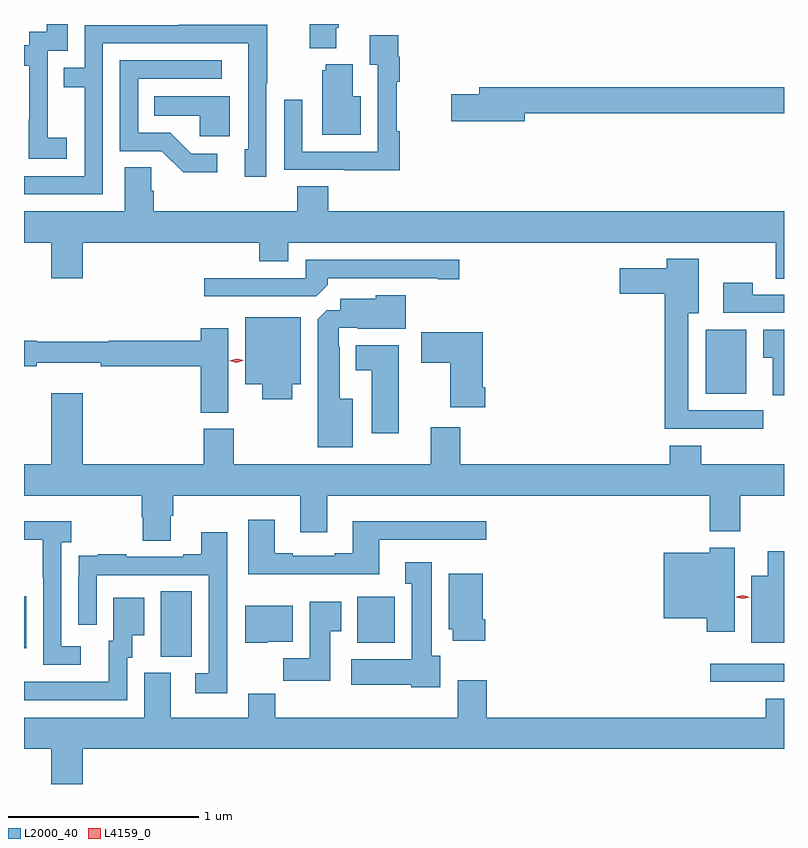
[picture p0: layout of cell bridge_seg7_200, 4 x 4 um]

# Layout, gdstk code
import gdstk
lib = gdstk.Library(unit=1e-6, precision=1e-09)
def R(c, l, rs):  # rectangles x0, y0, x1, y1
    for r in rs: c.add(gdstk.rectangle(r[:2], r[2:], *l))
def P(c, l, *ps):  # polygons
    for p in ps: c.add(gdstk.Polygon(p, *l))
L2000_40 = (2000, 40)
L4159_0 = (4159, 0)

bridge_seg7_200 = lib.new_cell('bridge_seg7_200')
R(bridge_seg7_200, L2000_40, [(120.525,1024.944,120.912,1025.04), (117.632,1025.077,117.796,1025.42), (116.912,1025.121,116.923,1025.395), (118.667,1025.15,118.864,1025.392), (120.5,1026.461,120.712,1026.796)])
P(bridge_seg7_200, L2000_40, [(118.555,1028.386),(118.568,1028.386),(118.568,1028.406),(118.415,1028.406),(118.415,1028.279),(118.555,1028.279)],
  [(117.136,1027.807),(117.038,1027.807),(117.038,1028.036),(117.036,1028.036),(117.036,1028.265),(117.141,1028.265),(117.141,1028.406),(117.033,1028.406),(117.033,1028.364),(116.94,1028.364),(116.94,1028.295),(116.912,1028.295),(116.912,1028.187),(116.939,1028.187),(116.939,1027.903),(116.938,1027.903),(116.938,1027.697),(117.136,1027.697)],
  [(117.327,1028.304),(118.091,1028.304),(118.091,1028.05),(118.092,1028.05),(118.092,1027.746),(118.073,1027.746),(118.073,1027.602),(118.188,1027.602),(118.188,1028.095),(118.191,1028.095),(118.191,1028.402),(117.727,1028.402),(117.727,1028.4),(117.231,1028.4),(117.231,1028.175),(117.121,1028.175),(117.121,1028.074),(117.231,1028.074),(117.231,1027.605),(116.912,1027.605),(116.912,1027.509),(117.327,1027.509)],
  [(118.889,1027.841),(118.874,1027.841),(118.874,1028.102),(118.889,1028.102),(118.889,1028.234),(118.882,1028.234),(118.882,1028.347),(118.733,1028.347),(118.733,1028.191),(118.773,1028.191),(118.773,1027.734),(118.377,1027.734),(118.377,1028.007),(118.281,1028.007),(118.281,1027.638),(118.597,1027.638),(118.597,1027.637),(118.889,1027.637)],
  [(117.928,1027.722),(117.793,1027.722),(117.682,1027.833),(117.513,1027.833),(117.513,1028.118),(117.952,1028.118),(117.952,1028.214),(117.417,1028.214),(117.417,1027.737),(117.636,1027.737),(117.749,1027.625),(117.928,1027.625)],
  [(118.684,1028.026),(118.642,1028.026),(118.642,1028.194),(118.499,1028.194),(118.499,1028.163),(118.481,1028.163),(118.481,1027.823),(118.684,1027.823)],
  [(119.548,1027.936),(120.912,1027.936),(120.912,1028.072),(119.309,1028.072),(119.309,1028.036),(119.16,1028.036),(119.16,1027.894),(119.548,1027.894)],
  [(117.994,1028.026),(117.598,1028.026),(117.598,1027.922),(117.837,1027.922),(117.837,1027.814),(117.994,1027.814)],
  [(120.912,1027.42),(118.514,1027.42),(118.514,1027.553),(118.349,1027.553),(118.349,1027.42),(117.596,1027.42),(117.596,1027.529),(117.582,1027.529),(117.582,1027.652),(117.443,1027.652),(117.443,1027.42),(116.912,1027.42),(116.912,1027.256),(117.056,1027.256),(117.056,1027.068),(117.22,1027.068),(117.22,1027.256),(118.151,1027.256),(118.151,1027.157),(118.303,1027.157),(118.303,1027.256),(120.868,1027.256),(120.868,1027.066),(120.912,1027.066)],
  [(120.802,1026.372),(120.409,1026.372),(120.409,1026.884),(120.463,1026.884),(120.463,1027.171),(120.296,1027.171),(120.296,1027.12),(120.048,1027.12),(120.048,1026.986),(120.284,1026.986),(120.284,1026.275),(120.802,1026.275)],
  [(118.511,1027.034),(118.511,1027.068),(119.09,1027.068),(119.09,1027.063),(119.203,1027.063),(119.203,1027.164),(118.395,1027.164),(118.395,1027.068),(117.861,1027.068),(117.861,1026.972),(118.449,1026.972)],
  [(120.912,1026.981),(120.747,1026.981),(120.747,1027.045),(120.591,1027.045),(120.591,1026.885),(120.912,1026.885)],
  [(118.642,1026.433),(118.573,1026.433),(118.573,1026.707),(118.569,1026.707),(118.569,1026.807),(118.669,1026.807),(118.669,1026.803),(118.921,1026.803),(118.921,1026.979),(118.764,1026.979),(118.764,1026.961),(118.577,1026.961),(118.577,1026.9),(118.506,1026.9),(118.457,1026.851),(118.457,1026.179),(118.642,1026.179)],
  [(118.324,1026.509),(118.369,1026.509),(118.369,1026.862),(118.076,1026.862),(118.076,1026.509),(118.166,1026.509),(118.166,1026.431),(118.324,1026.431)],
  [(117.988,1026.805),(117.842,1026.805),(117.842,1026.74),(117.358,1026.74),(117.358,1026.733),(116.98,1026.733),(116.98,1026.74),(116.912,1026.74),(116.912,1026.604),(116.98,1026.604),(116.98,1026.623),(117.316,1026.623),(117.316,1026.604),(117.842,1026.604),(117.842,1026.361),(117.988,1026.361)],
  [(120.912,1026.796),(120.803,1026.796),(120.803,1026.65),(120.854,1026.65),(120.854,1026.452),(120.912,1026.452)],
  [(119.339,1026.493),(119.326,1026.493),(119.326,1026.784),(119.004,1026.784),(119.004,1026.622),(119.156,1026.622),(119.156,1026.389),(119.339,1026.389)],
  [(118.885,1026.715),(118.658,1026.715),(118.658,1026.584),(118.742,1026.584),(118.742,1026.252),(118.885,1026.252)],
  [(117.685,1025.818),(117.698,1025.818),(117.698,1025.924),(118.367,1025.924),(118.367,1025.73),(118.507,1025.73),(118.507,1025.924),(120.521,1025.924),(120.521,1025.735),(120.681,1025.735),(120.681,1025.924),(120.912,1025.924),(120.912,1026.088),(120.476,1026.088),(120.476,1026.187),(120.311,1026.187),(120.311,1026.088),(119.207,1026.088),(119.207,1026.283),(119.054,1026.283),(119.054,1026.088),(118.017,1026.088),(118.017,1026.276),(117.857,1026.276),(117.857,1026.088),(117.22,1026.088),(117.22,1026.463),(117.056,1026.463),(117.056,1026.088),(116.912,1026.088),(116.912,1025.924),(117.533,1025.924),(117.533,1025.811),(117.538,1025.811),(117.538,1025.686),(117.685,1025.686)],
  [(118.783,1025.691),(119.344,1025.691),(119.344,1025.788),(118.643,1025.788),(118.643,1025.62),(118.547,1025.62),(118.547,1025.607),(118.327,1025.607),(118.327,1025.62),(118.231,1025.62),(118.231,1025.797),(118.091,1025.797),(118.091,1025.51),(118.783,1025.51)],
  [(117.211,1025.13),(117.108,1025.13),(117.108,1025.678),(117.16,1025.678),(117.16,1025.788),(116.912,1025.788),(116.912,1025.691),(117.011,1025.691),(117.011,1025.491),(117.012,1025.491),(117.012,1025.034),(117.211,1025.034)],
  [(117.981,1025.731),(117.845,1025.731),(117.845,1025.614),(117.749,1025.614),(117.749,1025.601),(117.449,1025.601),(117.449,1025.614),(117.301,1025.614),(117.301,1025.607),(117.199,1025.607),(117.199,1025.498),(117.198,1025.498),(117.198,1025.244),(117.294,1025.244),(117.294,1025.505),(117.885,1025.505),(117.885,1024.989),(117.813,1024.989),(117.813,1024.884),(117.981,1024.884)],
  [(120.652,1025.65),(120.522,1025.65),(120.522,1025.623),(120.278,1025.623),(120.278,1025.279),(120.506,1025.279),(120.506,1025.208),(120.652,1025.208)],
  [(120.912,1025.632),(120.827,1025.632),(120.827,1025.503),(120.74,1025.503),(120.74,1025.15),(120.912,1025.15)],
  [(119.104,1025.082),(119.059,1025.082),(119.059,1025.572),(118.919,1025.572),(118.919,1025.459),(118.952,1025.459),(118.952,1025.062),(118.635,1025.062),(118.635,1024.928),(118.95,1024.928),(118.95,1024.916),(119.104,1024.916)],
  [(119.339,1025.272),(119.326,1025.272),(119.326,1025.512),(119.147,1025.512),(119.147,1025.22),(119.168,1025.22),(119.168,1025.16),(119.339,1025.16)],
  [(117.456,1025.07),(117.481,1025.07),(117.481,1025.189),(117.544,1025.189),(117.544,1025.386),(117.383,1025.386),(117.383,1025.16),(117.359,1025.16),(117.359,1024.944),(116.912,1024.944),(116.912,1024.848),(117.456,1024.848)],
  [(118.525,1025.209),(118.582,1025.209),(118.582,1025.365),(118.415,1025.365),(118.415,1025.068),(118.276,1025.068),(118.276,1024.95),(118.525,1024.95)],
  [(118.194,1025.156),(118.327,1025.156),(118.327,1025.344),(118.076,1025.344),(118.076,1025.15),(118.194,1025.15)],
  [(117.22,1024.592),(120.912,1024.592),(120.912,1024.855),(120.815,1024.855),(120.815,1024.756),(119.348,1024.756),(119.348,1024.951),(119.195,1024.951),(119.195,1024.756),(118.235,1024.756),(118.235,1024.88),(118.091,1024.88),(118.091,1024.756),(117.685,1024.756),(117.685,1024.992),(117.545,1024.992),(117.545,1024.756),(116.912,1024.756),(116.912,1024.592),(117.056,1024.592),(117.056,1024.406),(117.22,1024.406)])
P(bridge_seg7_200, L4159_0, [(118.031,1026.624),(117.993,1026.634),(117.993,1026.634),(117.993,1026.634),(118.031,1026.644),(118.068,1026.635),(118.069,1026.635),(118.068,1026.635)],
  [(120.696,1025.38),(120.66,1025.39),(120.66,1025.391),(120.66,1025.391),(120.696,1025.4),(120.732,1025.39),(120.732,1025.39),(120.732,1025.389)])

lib.write_gds('bridge_seg7_200.gds')
